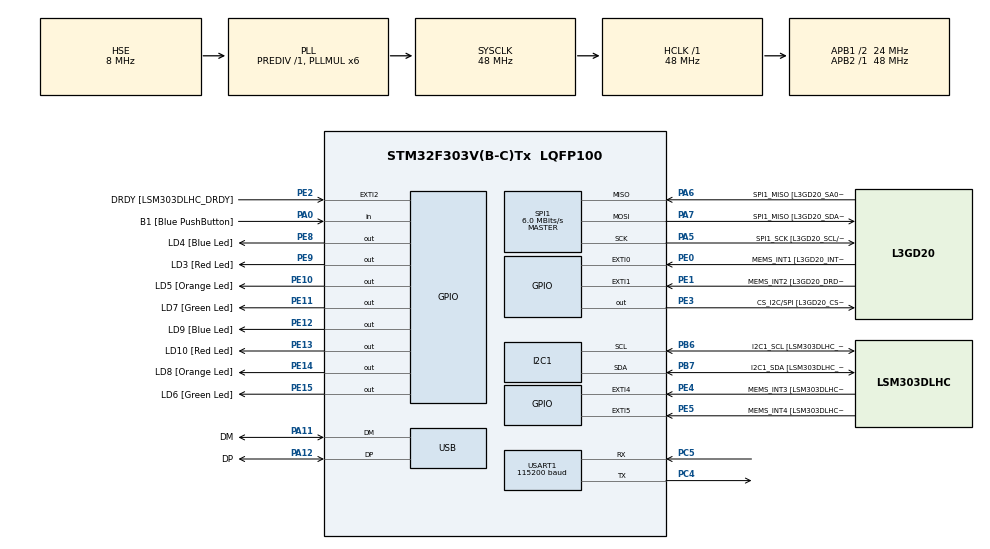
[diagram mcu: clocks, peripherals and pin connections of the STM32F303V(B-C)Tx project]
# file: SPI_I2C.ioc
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I2C1.Timing=0x00201D2B
I2C1.Timing-I2C=0x2000090E
Mcu.Family=STM32F3
Mcu.Name=STM32F303V(B-C)Tx
Mcu.Package=LQFP100
NVIC.PriorityGroup=NVIC_PRIORITYGROUP_0
NVIC.USB_LP_CAN_RX0_IRQn=true\:0\:0\:false\:false\:true\:false\:true\:true
PA0.GPIO_Label=B1 [Blue PushButton]
PA0.Signal=GPIO_Input
PA11.GPIO_Label=DM
PA11.Mode=Device
PA11.Signal=USB_DM
PA12.GPIO_Label=DP
PA12.Mode=Device
PA12.Signal=USB_DP
PA13.GPIO_Label=SWDIO
PA13.Mode=Serial_Wire
PA13.Signal=SYS_JTMS-SWDIO
PA14.GPIO_Label=SWCLK
PA14.Mode=Serial_Wire
PA14.Signal=SYS_JTCK-SWCLK
PA5.GPIO_Label=SPI1_SCK [L3GD20_SCL/SPC]
PA5.Mode=Full_Duplex_Master
PA5.Signal=SPI1_SCK
PA6.GPIO_Label=SPI1_MISO [L3GD20_SA0/SDO]
PA6.Mode=Full_Duplex_Master
PA6.Signal=SPI1_MISO
PA7.GPIO_Label=SPI1_MISO [L3GD20_SDA/SDI/SDO]
PA7.Mode=Full_Duplex_Master
PA7.Signal=SPI1_MOSI
PB3.GPIO_Label=SWO
PB3.Signal=SYS_JTDO-TRACESWO
PB6.GPIO_Label=I2C1_SCL [LSM303DLHC_SCL]
PB6.GPIO_Pu=GPIO_PULLUP
PB6.Mode=I2C
PB6.Signal=I2C1_SCL
PB7.GPIO_Label=I2C1_SDA [LSM303DLHC_SDA]
PB7.GPIO_Pu=GPIO_PULLUP
PB7.Mode=I2C
PB7.Signal=I2C1_SDA
PC14-OSC32_IN.GPIO_Label=OSC32_IN
PC14-OSC32_IN.Signal=RCC_OSC32_IN
PC15-OSC32_OUT.GPIO_Label=OSC32_OUT
PC15-OSC32_OUT.Signal=RCC_OSC32_OUT
PC4.Mode=Asynchronous
PC4.Signal=USART1_TX
PC5.Mode=Asynchronous
PC5.Signal=USART1_RX
PE0.GPIO_Label=MEMS_INT1 [L3GD20_INT1]
PE0.GPIO_ModeDefaultEXTI=GPIO_MODE_EVT_RISING
PE0.Signal=GPXTI0
PE1.GPIO_Label=MEMS_INT2 [L3GD20_DRDY/INT2]
PE1.GPIO_ModeDefaultEXTI=GPIO_MODE_EVT_RISING
PE1.Signal=GPXTI1
PE10.GPIO_Label=LD5 [Orange Led]
PE10.Signal=GPIO_Output
PE11.GPIO_Label=LD7 [Green Led]
PE11.Signal=GPIO_Output
PE12.GPIO_Label=LD9 [Blue Led]
PE12.Signal=GPIO_Output
PE13.GPIO_Label=LD10 [Red Led]
PE13.Signal=GPIO_Output
PE14.GPIO_Label=LD8 [Orange Led]
PE14.Signal=GPIO_Output
PE15.GPIO_Label=LD6 [Green Led]
PE15.Signal=GPIO_Output
PE2.GPIO_Label=DRDY [LSM303DLHC_DRDY]
PE2.GPIO_ModeDefaultEXTI=GPIO_MODE_EVT_RISING
PE2.Signal=GPXTI2
PE3.GPIO_Label=CS_I2C/SPI [L3GD20_CS_I2C/SPI]
PE3.Signal=GPIO_Output
PE4.GPIO_Label=MEMS_INT3 [LSM303DLHC_INT1]
PE4.GPIO_ModeDefaultEXTI=GPIO_MODE_EVT_RISING
PE4.Signal=GPXTI4
PE5.GPIO_Label=MEMS_INT4 [LSM303DLHC_INT2]
PE5.GPIO_ModeDefaultEXTI=GPIO_MODE_EVT_RISING
PE5.Signal=GPXTI5
PE8.GPIO_Label=LD4 [Blue Led]
PE8.Signal=GPIO_Output
PE9.GPIO_Label=LD3 [Red Led]
PE9.Signal=GPIO_Output
PF0-OSC_IN.GPIO_Label=OSC_IN
PF0-OSC_IN.Mode=HSE-External-Clock-Source
PF0-OSC_IN.Signal=RCC_OSC_IN
PF1-OSC_OUT.GPIO_Label=OSC_OUT
PF1-OSC_OUT.Signal=RCC_OSC_OUT
ProjectManager.HeapSize=0x200
ProjectManager.StackSize=0x400
ProjectManager.TargetToolchain=CMake
RCC.AHBFreq_Value=48000000
RCC.APB1CLKDivider=RCC_HCLK_DIV2
RCC.APB1Freq_Value=24000000
RCC.APB1TimFreq_Value=48000000
RCC.APB2Freq_Value=48000000
RCC.APB2TimFreq_Value=48000000
RCC.CortexFreq_Value=48000000
RCC.HCLKFreq_Value=48000000
RCC.HSE_VALUE=8000000
RCC.HSI_VALUE=8000000
RCC.LSE_VALUE=32768
RCC.PLLMUL=RCC_PLL_MUL6
RCC.SYSCLKFreq_VALUE=48000000
RCC.SYSCLKSourceVirtual=RCC_SYSCLKSOURCE_PLLCLK
RCC.USBFreq_Value=48000000
SPI1.BaudRatePrescaler=SPI_BAUDRATEPRESCALER_8
SPI1.BaudRatePrescaler-Full_Duplex_Master=SPI_BAUDRATEPRESCALER_2
SPI1.CalculateBaudRate=6.0 MBits/s
SPI1.CalculateBaudRate-Full_Duplex_Master=24.0 MBits/s
SPI1.DataSize=SPI_DATASIZE_8BIT
SPI1.Direction=SPI_DIRECTION_2LINES
SPI1.Mode=SPI_MODE_MASTER
SPI1.Mode-Full_Duplex_Master=SPI_MODE_MASTER
SPI1.NSSPMode=SPI_NSS_PULSE_DISABLE
SPI1.VirtualType=VM_MASTER
USART1.BaudRate=115200
USART1.VirtualMode-Asynchronous=VM_ASYNC
USB_DEVICE.CLASS_NAME_FS=CDC
USB_DEVICE.VirtualMode=Cdc
USB_DEVICE.VirtualModeFS=Cdc_FS
VP_USB_DEVICE_VS_USB_DEVICE_CDC_FS.Mode=CDC_FS
board=STM32F3DISCOVERY

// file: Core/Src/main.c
/* USER CODE BEGIN Header */
/**
  ******************************************************************************
  * @file           : main.c
  * @brief          : Main program body
  ******************************************************************************
  * @attention
  *
  * Copyright (c) 2025 STMicroelectronics.
  * All rights reserved.
  *
  * This software is licensed under terms that can be found in the LICENSE file
  * in the root directory of this software component.
  * If no LICENSE file comes with this software, it is provided AS-IS.
  *
  ******************************************************************************
  */
/* USER CODE END Header */
#include "main.h"
#include "usb_device.h"

/* USER CODE BEGIN PD */

char Buffer[100];
float y_acc_offset = 0.0;
float angleY = 0.0;
#define IMU_ADDRESS_READ 0x33
#define IMU_ADDRESS_WRITE 0x32
#define CTRL_REG_1 0x20
#define Y_OUT_H 0x2B
#define Y_OUT_L 0x2A
#define SCALE_2G  3.9f
#define RAD_TO_DEG 57.2957795f

// === Gyroscope Variables === //

#define CTRL_REG1 0x20             // Gyroscope control register 1 address
#define CTRL_REG1_VAL 0b00011111   // Enables: Power, X/Y/Z axes, and sets Output Data Rate (ODR)

#define CTRL_REG4  0x23
#define CTRL_REG4_VAL  0b00000000  // Full-scale = ±245 dps

float gyro_offset = 0.0;

// === Gyro End === //

#define SAMPLE_SIZE 100

/* USER CODE END PD */

I2C_HandleTypeDef hi2c1;

SPI_HandleTypeDef hspi1;

UART_HandleTypeDef huart1;

void SystemClock_Config(void);
static void MX_GPIO_Init(void);
static void MX_I2C1_Init(void);
static void MX_SPI1_Init(void);
static void MX_USART1_UART_Init(void);

/* USER CODE BEGIN 0 */

void calibrate_accel_y(void) {

  const int num_readings = 20;
  float acc_sum = 0.0f;
  uint8_t yl, yh;

  for (int i = 0; i < num_readings; i++) {

      // Read X-axis low and high bytes
      if (HAL_I2C_Mem_Read(&hi2c1, IMU_ADDRESS_READ, Y_OUT_L, I2C_MEMADD_SIZE_8BIT, &yl, 1, HAL_MAX_DELAY) != HAL_OK) {
        HAL_UART_Transmit(&huart1, (uint8_t*)"\t Error! \r\n", 11, HAL_MAX_DELAY);
      };
      if (HAL_I2C_Mem_Read(&hi2c1, IMU_ADDRESS_READ, Y_OUT_H, I2C_MEMADD_SIZE_8BIT, &yh, 1, HAL_MAX_DELAY) != HAL_OK) {
        HAL_UART_Transmit(&huart1, (uint8_t*)"\t Error! \r\n", 11, HAL_MAX_DELAY);
      };

      int16_t raw_y = (int16_t)((yh << 8) | yl);
      int16_t accel_y = raw_y >> 6;
      float accel_y_mg = accel_y * SCALE_2G;
      float accel_y_g = (accel_y_mg / 1000.0f) * RAD_TO_DEG;

      acc_sum += accel_y_g;
      HAL_Delay(50);  // small delay between readings

  }

  y_acc_offset = acc_sum / num_readings;  // calculate the offset for gyro

}

float read_accel_y(void) {

  uint8_t yl, yh;

  if (HAL_I2C_Mem_Read(&hi2c1, IMU_ADDRESS_READ, Y_OUT_L, I2C_MEMADD_SIZE_8BIT, &yl, 1, HAL_MAX_DELAY) != HAL_OK) {
    HAL_UART_Transmit(&huart1, (uint8_t*)"\t Error! \r\n", 11, HAL_MAX_DELAY);
  };

  if (HAL_I2C_Mem_Read(&hi2c1, IMU_ADDRESS_READ, Y_OUT_H, I2C_MEMADD_SIZE_8BIT, &yh, 1, HAL_MAX_DELAY) != HAL_OK) {
    HAL_UART_Transmit(&huart1, (uint8_t*)"\t Error! \r\n", 11, HAL_MAX_DELAY);
  };

  int16_t raw_y = (int16_t)((yh<<8) | yl);
  int16_t accel_y = raw_y>>6; // for 10 bit
  float accel_y_mg = accel_y * SCALE_2G;
  return (accel_y_mg / 1000.0f) * RAD_TO_DEG;

}

// Init Function:

void init_acc(){

  uint8_t ctrl1 = 0x63;
  uint8_t ctrl4 = 0x00;   // ±2g, normal resolution

  if (HAL_I2C_Mem_Write(&hi2c1, IMU_ADDRESS_WRITE, 0x20, I2C_MEMADD_SIZE_8BIT, &ctrl1, 1, HAL_MAX_DELAY) != HAL_OK) {
    HAL_UART_Transmit(&huart1, (uint8_t*)"\t Error! \r\n", 11, HAL_MAX_DELAY);
  };

  if (HAL_I2C_Mem_Write(&hi2c1, IMU_ADDRESS_WRITE, 0x23, I2C_MEMADD_SIZE_8BIT, &ctrl4, 1, HAL_MAX_DELAY) != HAL_OK) {
    HAL_UART_Transmit(&huart1, (uint8_t*)"\t Error! \r\n", 11, HAL_MAX_DELAY);
  };

}

void print_angle(int16_t gyro_y) {

  char msg[128];

  float final_accel = read_accel_y() - y_acc_offset;
  float gyro_filtered = gyro_y - gyro_offset;

    // === Convert to dps (°/s) using sensitivity scale ===
  // According to L3GD20 datasheet, ±245 dps mode → 8.75 mdps/digit = 0.00875 dps/digit
  float final_gyro = -(gyro_filtered * 0.00875f);

  angleY = 0.98 * (angleY + final_gyro * (1 / SAMPLE_SIZE)) + 0.02 * final_accel;

  sprintf(msg, "%.2f, %.2f, %.2f\r\n", final_accel, final_gyro, angleY);
  HAL_UART_Transmit(&huart1, (uint8_t*)msg, strlen(msg), HAL_MAX_DELAY);

}

// === Gyroscope Functions === //

void gyro_init()
{
    uint8_t tx[2] = { 0x20, 0b00011111 }; // Write CTRL_REG1 = 0x1F

    HAL_GPIO_WritePin(GPIOE, GPIO_PIN_3, GPIO_PIN_RESET); // CS low (start communication)
    HAL_SPI_Transmit(&hspi1, tx, 2, HAL_MAX_DELAY);       // Send address + value
    HAL_GPIO_WritePin(GPIOE, GPIO_PIN_3, GPIO_PIN_SET);   // CS high (end communication)
}

uint8_t gyro_read_register(uint8_t reg)
{
    uint8_t tx = 0x80 | reg; // Set MSB to indicate read operation
    uint8_t rx = 0;

    HAL_GPIO_WritePin(GPIOE, GPIO_PIN_3, GPIO_PIN_RESET); // CS low
    HAL_SPI_Transmit(&hspi1, &tx, 1, HAL_MAX_DELAY);       // Send register address
    HAL_SPI_Receive(&hspi1, &rx, 1, HAL_MAX_DELAY);        // Receive data byte
    HAL_GPIO_WritePin(GPIOE, GPIO_PIN_3, GPIO_PIN_SET);   // CS high

    return rx; // Return the value read from the register
}

void calibrate_gyro(void) {

  const int num_readings = 20;
  float gyro_sum = 0.0f;
  uint8_t y_l, y_h;
  int16_t y_raw;

  for (int i = 0; i < num_readings; ++i) {

    // Read low and high registers for y-axis:
    y_l = gyro_read_register(0x2A);
    y_h = gyro_read_register(0x2B);

    // Combine low and high bytes into 16-bit signed integers
    y_raw = (int16_t)(y_h << 8 | y_l);

    gyro_sum += y_raw;
  }

  gyro_offset = gyro_sum / num_readings;

}

// === Gyro End === //

/* USER CODE END 0 */

int main(void)
{

  /* MCU Configuration--------------------------------------------------------*/

  /* Reset of all peripherals, Initializes the Flash interface and the Systick. */
  HAL_Init();

  /* Configure the system clock */
  SystemClock_Config();

  /* Initialize all configured peripherals */
  MX_GPIO_Init();
  MX_I2C1_Init();
  MX_SPI1_Init();
  MX_USART1_UART_Init();
  MX_USB_DEVICE_Init();

  /* USER CODE BEGIN 2 */

  // === Gyro Code === //

    gyro_init();       // Initialize gyro (enable power and axes)
    HAL_Delay(500);    // Delay to allow sensor to stabilize

    calibrate_gyro();

    int16_t x_raw, y_raw, z_raw;  // Raw 16-bit data from gyro

    // === Gyro End === //

    init_acc();
    HAL_Delay(500);    // Delay to allow sensor to stabilize
    calibrate_accel_y();

    /* USER CODE END 2 */

    /* Infinite loop */
    while (1)
    {

      // === Gyro Code === //

      // Read low and high registers for y-axis:
      uint8_t y_l = gyro_read_register(0x28);
      uint8_t y_h = gyro_read_register(0x29);

      // Combine low and high bytes into 16-bit signed integers
      y_raw = (int16_t)(y_h << 8 | y_l);

      // === Gyro End === //

      print_angle(y_raw);

  }
}

void SystemClock_Config(void)
{
  RCC_OscInitTypeDef RCC_OscInitStruct = {0};
  RCC_ClkInitTypeDef RCC_ClkInitStruct = {0};
  RCC_PeriphCLKInitTypeDef PeriphClkInit = {0};

  /** Initializes the RCC Oscillators according to the specified parameters
  * in the RCC_OscInitTypeDef structure.
  */
  RCC_OscInitStruct.OscillatorType = RCC_OSCILLATORTYPE_HSI|RCC_OSCILLATORTYPE_HSE;
  RCC_OscInitStruct.HSEState = RCC_HSE_BYPASS;
  RCC_OscInitStruct.HSEPredivValue = RCC_HSE_PREDIV_DIV1;
  RCC_OscInitStruct.HSIState = RCC_HSI_ON;
  RCC_OscInitStruct.HSICalibrationValue = RCC_HSICALIBRATION_DEFAULT;
  RCC_OscInitStruct.PLL.PLLState = RCC_PLL_ON;
  RCC_OscInitStruct.PLL.PLLSource = RCC_PLLSOURCE_HSE;
  RCC_OscInitStruct.PLL.PLLMUL = RCC_PLL_MUL6;
  if (HAL_RCC_OscConfig(&RCC_OscInitStruct) != HAL_OK)
  {
    Error_Handler();
  }

  /** Initializes the CPU, AHB and APB buses clocks
  */
  RCC_ClkInitStruct.ClockType = RCC_CLOCKTYPE_HCLK|RCC_CLOCKTYPE_SYSCLK
                              |RCC_CLOCKTYPE_PCLK1|RCC_CLOCKTYPE_PCLK2;
  RCC_ClkInitStruct.SYSCLKSource = RCC_SYSCLKSOURCE_PLLCLK;
  RCC_ClkInitStruct.AHBCLKDivider = RCC_SYSCLK_DIV1;
  RCC_ClkInitStruct.APB1CLKDivider = RCC_HCLK_DIV2;
  RCC_ClkInitStruct.APB2CLKDivider = RCC_HCLK_DIV1;

  if (HAL_RCC_ClockConfig(&RCC_ClkInitStruct, FLASH_LATENCY_1) != HAL_OK)
  {
    Error_Handler();
  }
  PeriphClkInit.PeriphClockSelection = RCC_PERIPHCLK_USB|RCC_PERIPHCLK_USART1
                              |RCC_PERIPHCLK_I2C1;
  PeriphClkInit.Usart1ClockSelection = RCC_USART1CLKSOURCE_PCLK2;
  PeriphClkInit.I2c1ClockSelection = RCC_I2C1CLKSOURCE_HSI;
  PeriphClkInit.USBClockSelection = RCC_USBCLKSOURCE_PLL;
  if (HAL_RCCEx_PeriphCLKConfig(&PeriphClkInit) != HAL_OK)
  {
    Error_Handler();
  }
}

static void MX_I2C1_Init(void)
{

  hi2c1.Instance = I2C1;
  hi2c1.Init.Timing = 0x00201D2B;
  hi2c1.Init.OwnAddress1 = 0;
  hi2c1.Init.AddressingMode = I2C_ADDRESSINGMODE_7BIT;
  hi2c1.Init.DualAddressMode = I2C_DUALADDRESS_DISABLE;
  hi2c1.Init.OwnAddress2 = 0;
  hi2c1.Init.OwnAddress2Masks = I2C_OA2_NOMASK;
  hi2c1.Init.GeneralCallMode = I2C_GENERALCALL_DISABLE;
  hi2c1.Init.NoStretchMode = I2C_NOSTRETCH_DISABLE;
  if (HAL_I2C_Init(&hi2c1) != HAL_OK)
  {
    Error_Handler();
  }

  /** Configure Analogue filter
  */
  if (HAL_I2CEx_ConfigAnalogFilter(&hi2c1, I2C_ANALOGFILTER_ENABLE) != HAL_OK)
  {
    Error_Handler();
  }

  /** Configure Digital filter
  */
  if (HAL_I2CEx_ConfigDigitalFilter(&hi2c1, 0) != HAL_OK)
  {
    Error_Handler();
  }

}

static void MX_SPI1_Init(void)
{

  /* SPI1 parameter configuration*/
  hspi1.Instance = SPI1;
  hspi1.Init.Mode = SPI_MODE_MASTER;
  hspi1.Init.Direction = SPI_DIRECTION_2LINES;
  hspi1.Init.DataSize = SPI_DATASIZE_8BIT;
  hspi1.Init.CLKPolarity = SPI_POLARITY_LOW;
  hspi1.Init.CLKPhase = SPI_PHASE_1EDGE;
  hspi1.Init.NSS = SPI_NSS_SOFT;
  hspi1.Init.BaudRatePrescaler = SPI_BAUDRATEPRESCALER_8;
  hspi1.Init.FirstBit = SPI_FIRSTBIT_MSB;
  hspi1.Init.TIMode = SPI_TIMODE_DISABLE;
  hspi1.Init.CRCCalculation = SPI_CRCCALCULATION_DISABLE;
  hspi1.Init.CRCPolynomial = 7;
  hspi1.Init.CRCLength = SPI_CRC_LENGTH_DATASIZE;
  hspi1.Init.NSSPMode = SPI_NSS_PULSE_DISABLE;
  if (HAL_SPI_Init(&hspi1) != HAL_OK)
  {
    Error_Handler();
  }

}

static void MX_USART1_UART_Init(void)
{

  huart1.Instance = USART1;
  huart1.Init.BaudRate = 115200;
  huart1.Init.WordLength = UART_WORDLENGTH_8B;
  huart1.Init.StopBits = UART_STOPBITS_1;
  huart1.Init.Parity = UART_PARITY_NONE;
  huart1.Init.Mode = UART_MODE_TX_RX;
  huart1.Init.HwFlowCtl = UART_HWCONTROL_NONE;
  huart1.Init.OverSampling = UART_OVERSAMPLING_16;
  huart1.Init.OneBitSampling = UART_ONE_BIT_SAMPLE_DISABLE;
  huart1.AdvancedInit.AdvFeatureInit = UART_ADVFEATURE_NO_INIT;
  if (HAL_UART_Init(&huart1) != HAL_OK)
  {
    Error_Handler();
  }

}

static void MX_GPIO_Init(void)
{
  GPIO_InitTypeDef GPIO_InitStruct = {0};

  /* GPIO Ports Clock Enable */
  __HAL_RCC_GPIOE_CLK_ENABLE();
  __HAL_RCC_GPIOC_CLK_ENABLE();
  __HAL_RCC_GPIOF_CLK_ENABLE();
  __HAL_RCC_GPIOA_CLK_ENABLE();
  __HAL_RCC_GPIOB_CLK_ENABLE();

  /*Configure GPIO pin Output Level */
  HAL_GPIO_WritePin(GPIOE, CS_I2C_SPI_Pin|LD4_Pin|LD3_Pin|LD5_Pin
                          |LD7_Pin|LD9_Pin|LD10_Pin|LD8_Pin
                          |LD6_Pin, GPIO_PIN_RESET);

  /*Configure GPIO pins : DRDY_Pin MEMS_INT3_Pin MEMS_INT4_Pin MEMS_INT1_Pin
                           MEMS_INT2_Pin */
  GPIO_InitStruct.Pin = DRDY_Pin|MEMS_INT3_Pin|MEMS_INT4_Pin|MEMS_INT1_Pin
                          |MEMS_INT2_Pin;
  GPIO_InitStruct.Mode = GPIO_MODE_EVT_RISING;
  GPIO_InitStruct.Pull = GPIO_NOPULL;
  HAL_GPIO_Init(GPIOE, &GPIO_InitStruct);

  /*Configure GPIO pins : CS_I2C_SPI_Pin LD4_Pin LD3_Pin LD5_Pin
                           LD7_Pin LD9_Pin LD10_Pin LD8_Pin
                           LD6_Pin */
  GPIO_InitStruct.Pin = CS_I2C_SPI_Pin|LD4_Pin|LD3_Pin|LD5_Pin
                          |LD7_Pin|LD9_Pin|LD10_Pin|LD8_Pin
                          |LD6_Pin;
  GPIO_InitStruct.Mode = GPIO_MODE_OUTPUT_PP;
  GPIO_InitStruct.Pull = GPIO_NOPULL;
  GPIO_InitStruct.Speed = GPIO_SPEED_FREQ_LOW;
  HAL_GPIO_Init(GPIOE, &GPIO_InitStruct);

  /*Configure GPIO pin : B1_Pin */
  GPIO_InitStruct.Pin = B1_Pin;
  GPIO_InitStruct.Mode = GPIO_MODE_INPUT;
  GPIO_InitStruct.Pull = GPIO_NOPULL;
  HAL_GPIO_Init(B1_GPIO_Port, &GPIO_InitStruct);

}

void Error_Handler(void)
{
  __disable_irq();
  while (1)
  {
  }
}
